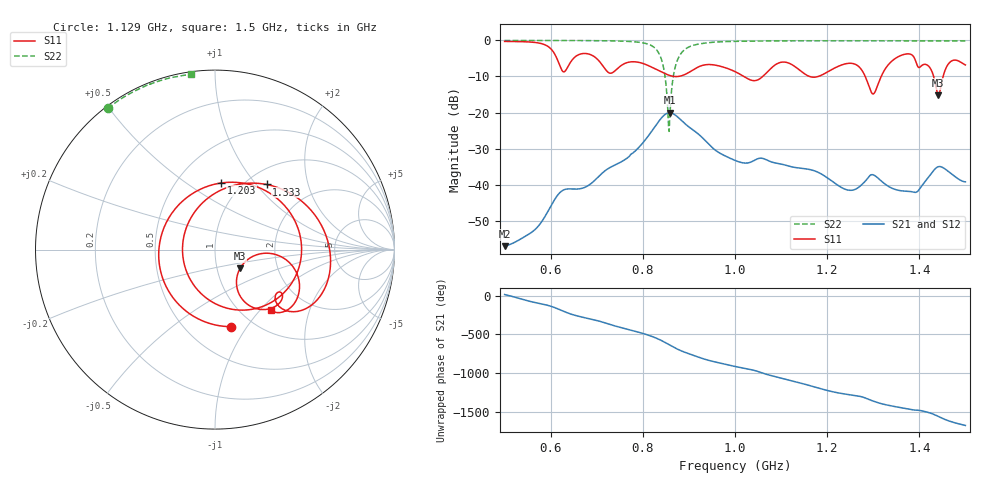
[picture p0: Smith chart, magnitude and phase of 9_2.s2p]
! TOUCHSTONE file generated by CST MICROWAVE STUDIO
! Date and time: Thu Feb 11 19:31:56 2021
! Project name: Scenario_1_Planar_Body_Tissue_Out_of_Line.cst
! Parameters = {L_HA=400; Ltissue=1000; MT=2.54; Rad_Dielectric=30; Rad_Lower=7.3; Rad_Upper=30; Wtissue=1000; a_HA=580; a_WG=246; b_HA=500; b_WG=121; c_HA=0; c_WG=187; d_feed=85; dx1=346; dy1=-207.6; h_feed=15; h_lower=18; h_upper=40; hfat=3; hgap=25; hmuscle=50; hskin=1.5}
! Header version: 2018
! Port assignment regex: !\s*Touchstone port\s*([0-9]+)\s*=\s*(CST MWS port|CST DS port)\s*([0-9]+|Zmin|Zmax)\s*\(\"(.*)\"\)(\s*mode\s*([0-9]+))?.*
! Touchstone port assignment:
! Touchstone port 1 = CST MWS port 1 ("")
! Touchstone port 2 = CST MWS port 2 ("")
# GHz S DB R 50
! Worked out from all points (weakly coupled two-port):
!   1003 points, 500 MHz to 1.5 GHz, reference 50 ohm
!   highest |S21| = -20.06 dB at 858 MHz (marker M1); lowest = -57.0 dB at 500 MHz (marker M2)
!   lowest |S11| = -15.2 dB at 1.441 GHz (marker M3), VSWR 1.42, Z = 64.7 - j13.8 ohm
!   |S11| at or under -10 dB: 1.019 GHz to 1.06 GHz (40.8 MHz wide, 3.92 % of centre); 1.283 GHz to 1.317 GHz (34.64 MHz wide, 2.66 % of centre); 1.431 GHz to 1.452 GHz (20.56 MHz wide, 1.43 % of centre)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
!   |S22| runs from -25.2 to 0.0 dB; largest |S21 - S12| = 6.5e-05
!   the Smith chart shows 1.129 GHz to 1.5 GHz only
!   S11 on the Smith chart (normalised r, x): 1.129 GHz: 0.80, -0.85; 1.203 GHz: 0.80, +0.69; 1.333 GHz: 1.23, +1.13; 1.5 GHz: 1.35, -1.14
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0.5  -0.27 -121.6  -57.04 16.7  -57.04 16.7  -0.01 151.1
0.667  -3.70 157.9  -41.03 86.3  -41.03 86.3  -0.04 138.4
0.718  -7.91 23.0  -36.13 9.7  -36.13 9.7  -0.09 132.5
0.742  -8.14 -98.0  -34.39 -34.0  -34.39 -34.0  -0.14 128.9
0.77  -6.02 176.5  -32.21 -77.3  -32.21 -77.3  -0.27 123.0
0.834  -8.35 35.7  -22.52 159.5  -22.52 159.5  -3.38 81.9
0.858  -9.70 -26.4  -20.06 83.4  -20.06 83.4  -22.93 -93.1
0.909  -8.17 179.3  -24.83 -48.9  -24.83 -48.9  -1.37 162.3
0.939  -6.70 85.5  -28.25 -108.8  -28.25 -108.8  -0.67 151.6
1  -8.64 -63.1  -33.26 165.7  -33.26 165.7  -0.26 140.1
1.043  -11.15 -177.9  -33.19 112.9  -33.19 112.9  -0.18 135.1
1.077  -7.85 74.4  -33.59 49.8  -33.59 49.8  -0.14 131.8
1.102  -6.01 -1.5  -34.32 11.1  -34.32 11.1  -0.11 129.5
1.129  -7.16 -78.1  -35.20 -29.7  -35.19 -29.7  -0.10 127.2
1.167  -10.16 173.2  -35.94 -90.0  -35.94 -90.0  -0.10 124.2
1.203  -8.58 84.9  -38.33 -149.2  -38.32 -149.2  -0.09 121.4
1.277  -8.59 -65.1  -39.76 129.5  -39.74 129.8  -0.09 115.8
1.333  -6.70 51.7  -40.46 22.5  -40.46 22.5  -0.08 111.6
1.334  -6.55 49.8  -40.53 21.3  -40.53 21.3  -0.08 111.5
1.388  -4.58 -35.0  -42.07 -37.9  -42.07 -37.9  -0.09 107.3
1.441  -15.17 -36.3  -35.03 -120.8  -35.03 -120.8  -0.11 103.0
1.5  -6.79 -46.9  -39.21 121.9  -39.21 121.9  -0.12 97.9
